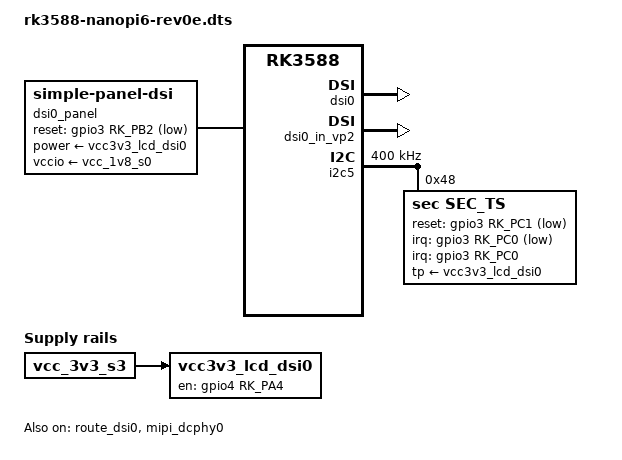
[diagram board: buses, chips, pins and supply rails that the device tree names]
// SPDX-License-Identifier: (GPL-2.0+ OR MIT)
/*
* Copyright (c) 2021 Rockchip Electronics Co., Ltd.
*
*/

/dts-v1/;

#include "rk3588-evb7-lp4.dtsi"
#include "rk3588-linux.dtsi"
#include <dt-bindings/display/rockchip_vop.h>

/ {
	vcc3v3_lcd_dsi0: vcc3v3-lcd-dsi0 {
		status = "okay";
		compatible = "regulator-fixed";
		enable-active-high;
		gpio = <&gpio4 RK_PA4 GPIO_ACTIVE_HIGH>;
		pinctrl-0 = <&lcd_pwr_dsi0>;
		pinctrl-names = "default";
		regulator-boot-on;
		regulator-name = "vcc3v3_lcd_dsi0";
		vin-supply = <&vcc_3v3_s3>;  //PLDO_REG2
	};
};

&pinctrl {
	lcd0_dsi0 {
		lcd_pwr_dsi0: lcd-pwr-dsi0 {
			rockchip,pins = <4 RK_PA4 RK_FUNC_GPIO &pcfg_pull_none>;
		};
		lcd_rst_dsi0: lcd-rst-dsi0 {
			rockchip,pins = <3 RK_PB2 RK_FUNC_GPIO &pcfg_pull_none>;
		};
	};
	// 天马触摸屏
	touch {
		ts_pins: ts-pins {
			rockchip,pins = 
				<3 RK_PC0 RK_FUNC_GPIO &pcfg_pull_up>,
				<3 RK_PC1 RK_FUNC_GPIO &pcfg_pull_up>;
		};
	};
};

&dsi0 {
	status = "okay";  // mipi
};

&dsi0_in_vp2 {
	status = "okay";  // mipi
};

&dsi0_in_vp3 {
	status = "disabled";  // mipi
};

&route_dsi0 {
	connect = <&vp2_out_dsi0>;
	status = "okay";  // mipi
	logo,mode = "center";
	charge_logo,mode = "center";
};

/*
 * mipi_dcphy1 needs to be enabled
 * when dsi1 is enabled
 */
&mipi_dcphy0 {
	status = "okay";
};

// rk3588-evb.dtsi
&dsi0_panel {
	status = "okay";  // mipi
	/delete-property/ reset-gpios;
	compatible = "simple-panel-dsi";
	pinctrl-names = "default";
	pinctrl-0 = <&lcd_rst_dsi0>;
	reset-gpios = <&gpio3 RK_PB2 GPIO_ACTIVE_LOW>;
		
	power-supply = <&vcc3v3_lcd_dsi0>;
	vccio-supply = <&vcc_1v8_s0>;
	
	prepare-delay-ms = <20>;
	reset-delay-ms = <120>;
	init-delay-ms = <100>;
	enable-delay-ms = <35>;
	disable-delay-ms = <50>;
	unprepare-delay-ms = <50>;

	width-mm = <74>;
	height-mm = <133>;

	dsi,flags = <(MIPI_DSI_MODE_VIDEO | MIPI_DSI_MODE_VIDEO_BURST |
		MIPI_DSI_MODE_LPM | MIPI_DSI_MODE_NO_EOT_PACKET)>;
	dsi,format = <MIPI_DSI_FMT_RGB888>;
	dsi,lanes = <4>;

	panel-init-sequence = [
		39 00 03 9F A5 A5
		05 78 01 11  
		15 00 02 55 10
		39 00 03 F0 5A 5A
		15 00 02 73 94 
		39 00 3D EA 00 73 11 1B 23 2A 40 59 70 6E A1 86 92 9F AB B8 4D 59 65 7F 00 73 11 1B 23 2A 40 59 70 6E A1 86 92 9F AB B8 4D 59 65 7F 00 73 11 1B 23 2A 40 59 70 6E A1 86 92 9F AB B8 4D 59 65 7F
		39 00 3D EB 00 73 11 1B 23 2A 40 59 70 6E A1 86 92 9F AB B8 4D 59 65 7F 00 73 11 1B 23 2A 40 59 70 6E A1 86 92 9F AB B8 4D 59 65 7F 00 73 11 1B 23 2A 40 59 70 6E A1 86 92 9F AB B8 4D 59 65 7F
		39 00 03 F0 A5 A5
		05 09 01 29
		39 00 03 9F 5A 5A
	];

	panel-exit-sequence = [
		39 00 03 9F A5 A5
		05 00 01 28
		05 50 02 10 00
		39 00 03 F0 5A 5A
		15 00 02 73 90 
		39 00 03 F0 A5 A5
		05 00 01 24
		39 00 03 9F 5A 5A
	];

	// 下面的简略版也可以工作
	// panel-init-sequence = [
	// 	05 78 01 11
	// 	05 0A 01 29
	// ];

	// panel-exit-sequence = [
	// 	05 10 01 28
	// 	05 78 01 10
	// ];
	display-timings {
		native-mode = <&timing0>;
		timing0: timing0 {
			clock-frequency = <154000000>;
			hactive = <1080>;
			vactive = <2160>;

			vback-porch = <6>;
			vfront-porch = <8>;

			hback-porch = <4>;
			hfront-porch = <92>;

			hsync-len = <4>;
			vsync-len = <2>;

			vsync-active = <0>;
			hsync-active = <0>;
			de-active = <1>;
			pixelclk-active = <0>;
		};
	};

};

&i2c5 {
	status = "okay";
	pinctrl-names = "default";
	pinctrl-0 = <&i2c5m0_xfer>;
	clock-frequency = <400000>;

	SEC_TS@48 {
		compatible = "sec,sec_ts";
		reg = <0x48>;
		pinctrl-names = "default";
		pinctrl-0 = <&ts_pins>;
		
		interrupt-parent = <&gpio3>;
		interrupts = <RK_PC0 IRQ_TYPE_LEVEL_LOW>;
		reset-gpios = <&gpio3 RK_PC1 GPIO_ACTIVE_LOW>;
		
		sec,irq_gpio = <&gpio3 RK_PC0 GPIO_ACTIVE_LOW>;
		sec,max_coords = <1080>, <2160>;
		
		tp-supply = <&vcc3v3_lcd_dsi0>; 
		status = "okay";
	};
};
